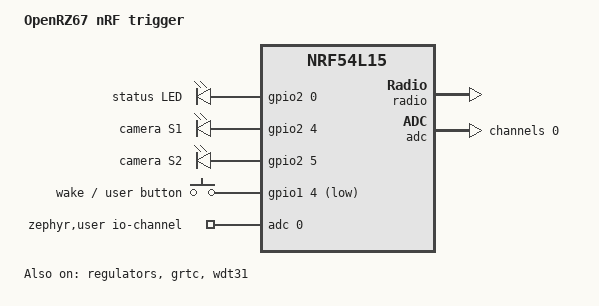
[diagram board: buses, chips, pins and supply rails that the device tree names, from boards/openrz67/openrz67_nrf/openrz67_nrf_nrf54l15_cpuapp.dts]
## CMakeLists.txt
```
# SPDX-License-Identifier: MPL-2.0
cmake_minimum_required(VERSION 3.20.0)
list(APPEND BOARD_ROOT ${CMAKE_CURRENT_SOURCE_DIR})
find_package(Zephyr REQUIRED HINTS $ENV{ZEPHYR_BASE})
project(openrz67_nrf)
target_sources(app PRIVATE src/main.c)
```

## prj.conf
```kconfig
# Bluetooth: peripheral only, one connection, 0 dBm
CONFIG_BT=y
CONFIG_BT_PERIPHERAL=y
CONFIG_BT_MAX_CONN=1
CONFIG_BT_DEVICE_NAME="OpenRZ67"
CONFIG_BT_DEVICE_APPEARANCE=0
CONFIG_BT_DIS=y
CONFIG_BT_DIS_MANUF_NAME=y
CONFIG_BT_DIS_MANUF_NAME_STR="OpenRZ67"
CONFIG_BT_DIS_MODEL_NUMBER=y
CONFIG_BT_DIS_MODEL_NUMBER_STR="Trigger"
CONFIG_BT_DIS_FW_REV=y
CONFIG_BT_DIS_PNP=n
CONFIG_BT_BAS=y
CONFIG_BT_GATT_DYNAMIC_DB=n
CONFIG_BT_CTLR_TX_PWR_0=y
# GAP preferred supervision timeout 4 s, as requested after connecting (default 420 ms)
CONFIG_BT_PERIPHERAL_PREF_TIMEOUT=400

# Firmware updates over Bluetooth: MCUboot + SMP (nRF Connect Device Manager app)
CONFIG_NCS_SAMPLE_MCUMGR_BT_OTA_DFU=y

# GPIO, ADC (VDD measurement), power off, watchdog
CONFIG_GPIO=y
CONFIG_ADC=y
CONFIG_POWEROFF=y
CONFIG_WATCHDOG=y

# Anomaly 30: HFINT drifts in the cold and GRTC wake-ups go wrong; recalibrate every 60 s
CONFIG_CLOCK_CONTROL_NRF_HFINT_CALIBRATION=y

# Nothing talks on a serial port: no UART, no console, no logging.
# debug.conf turns RTT logging on for a J-Link / debugprobe session.
CONFIG_SERIAL=n
CONFIG_CONSOLE=n
CONFIG_UART_CONSOLE=n
CONFIG_LOG=n
CONFIG_BOOT_BANNER=n
CONFIG_MAIN_STACK_SIZE=2048
```

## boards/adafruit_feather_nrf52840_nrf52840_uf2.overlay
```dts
/* SPDX-License-Identifier: MPL-2.0 */
/* Perfboard variant, see ../../docs/perfboard.md */
#include <zephyr/dt-bindings/gpio/nordic-nrf-gpio.h>
#include <zephyr/dt-bindings/adc/adc.h>
#include <zephyr/dt-bindings/adc/nrf-saadc.h>

/ {
	outputs {
		compatible = "gpio-leds";
		s1_drv: s1 {
			gpios = <&gpio0 4 (GPIO_ACTIVE_HIGH | NRF_GPIO_DRIVE_H0H1)>;	/* A0 */
			label = "camera S1";
		};
		s2_drv: s2 {
			gpios = <&gpio0 5 (GPIO_ACTIVE_HIGH | NRF_GPIO_DRIVE_H0H1)>;	/* A1 */
			label = "camera S2";
		};
	};

	/* LiPo through the Feather's 100k/100k divider into AIN5 */
	zephyr,user {
		io-channels = <&adc 5>;
		vbat-divider = <2>;
		vbat-curve = <4150 100 3300 0>;
	};
};

&adc {
	#address-cells = <1>;
	#size-cells = <0>;
	channel@5 {
		reg = <5>;
		zephyr,gain = "ADC_GAIN_1_6";
		zephyr,reference = "ADC_REF_INTERNAL";
		zephyr,acquisition-time = <ADC_ACQ_TIME(ADC_ACQ_TIME_MICROSECONDS, 40)>;
		zephyr,input-positive = <NRF_SAADC_AIN5>;
		zephyr,resolution = <12>;
		zephyr,oversampling = <4>;
	};
};

/* USR button on P1.02 via SENSE, as on the coin-cell board */
&gpio1 {
	sense-edge-mask = <(1 << 2)>;
};

&wdt0 {
	status = "okay";
};
```

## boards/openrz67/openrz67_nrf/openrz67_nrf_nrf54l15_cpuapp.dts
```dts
/* SPDX-License-Identifier: MPL-2.0 */
/dts-v1/;
#include <nordic/nrf54l15_cpuapp.dtsi>
#include <zephyr/dt-bindings/input/input-event-codes.h>
#include <zephyr/dt-bindings/adc/adc.h>
#include <zephyr/dt-bindings/adc/nrf-saadc.h>
#include <zephyr/dt-bindings/gpio/nordic-nrf-gpio.h>

/ {
	model = "OpenRZ67 nRF trigger";
	compatible = "openrz67,openrz67-nrf";

	chosen {
		zephyr,sram = &cpuapp_sram;
		zephyr,flash = &cpuapp_rram;
		zephyr,flash-controller = &rram_controller;
		zephyr,code-partition = &slot0_partition;
	};

	/* E73-2G4M08S1F pads -> nRF54L15 GPIO, see ../../../../kicad/README.md */
	outputs {
		compatible = "gpio-leds";
		status_led: led_0 {
			gpios = <&gpio2 0 GPIO_ACTIVE_HIGH>;	/* D1 through R3, pad 18 */
			label = "status LED";
		};
		s1_drv: s1 {
			gpios = <&gpio2 4 (GPIO_ACTIVE_HIGH | NRF_GPIO_DRIVE_S0H1)>;	/* U2 PhotoMOS LED through R1, pad 27; high drive, 4 to 7 mA */
			label = "camera S1";
		};
		s2_drv: s2 {
			gpios = <&gpio2 5 (GPIO_ACTIVE_HIGH | NRF_GPIO_DRIVE_S0H1)>;	/* U3 PhotoMOS LED through R2, pad 28; high drive, 4 to 7 mA */
			label = "camera S2";
		};
	};

	buttons {
		compatible = "gpio-keys";
		user_button: button_0 {
			gpios = <&gpio1 4 (GPIO_PULL_UP | GPIO_ACTIVE_LOW)>;	/* SW1 to GND, pad 7 */
			label = "wake / user button";
			zephyr,code = <INPUT_KEY_0>;
		};
	};

	zephyr,user {
		io-channels = <&adc 0>;	/* VDD, i.e. the cell voltage */
	};

	aliases {
		led0 = &status_led;
		sw0 = &user_button;
		watchdog0 = &wdt31;
	};
};

&cpuapp_sram {
	status = "okay";
};

/* Crystals inside the module; Ebyte does not give their load capacitance, these are the DK values */
&lfxo {
	load-capacitors = "internal";
	load-capacitance-femtofarad = <17000>;
};

&hfxo {
	load-capacitors = "internal";
	load-capacitance-femtofarad = <15000>;
};

&regulators {
	status = "okay";
};

&grtc {
	owned-channels = <0 1 2 3 4 5 6 7 8 9 10 11>;
	child-owned-channels = <3 4 7 8 9 10 11>;
	status = "okay";
};

&clock {
	status = "okay";
};

&radio {
	status = "okay";
};

&adc {
	status = "okay";
	#address-cells = <1>;
	#size-cells = <0>;
	channel@0 {
		reg = <0>;
		zephyr,gain = "ADC_GAIN_1_4";
		zephyr,reference = "ADC_REF_INTERNAL";
		zephyr,acquisition-time = <ADC_ACQ_TIME(ADC_ACQ_TIME_MICROSECONDS, 40)>;
		zephyr,input-positive = <NRF_SAADC_VDD>;
		zephyr,resolution = <12>;
		zephyr,oversampling = <4>;
	};
};

&gpio1 {
	status = "okay";
	sense-edge-mask = <(1 << 4)>;	/* button via SENSE, not a GPIOTE channel */
	latch-detect;	/* anomaly 114: a bouncing SENSE pin can leave ~300 uA on in idle */
};

&gpio2 {
	status = "okay";
};

&wdt31 {
	status = "okay";
};

&gpiote20 {
	status = "okay";
};

#include <vendor/nordic/nrf54l15_cpuapp_partition.dtsi>
```

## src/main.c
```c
/* SPDX-License-Identifier: MPL-2.0 */
/* OpenRZ67 trigger, nRF54L15 / coin cell. Zephyr (nRF Connect SDK).
 *
 * GATT interface, as the Android and iOS apps use it:
 *   service  c9239c9e-6fc9-4168-b3aa-53105eb990b0
 *   command  458d4dc9-349f-401d-b092-a2b1c55f5319  write, with or without response
 *            1 byte:  button * 10 + state        (1 trigger, 2 bulb, 3 countdown; 1 start, 0 stop)
 *            3 bytes: [3, seconds, state]        countdown with its duration
 *   battery  cda71ce6-4af9-4aa2-8d34-329c2acdae09  cell voltage, mV, uint16 LE, read + notify
 *   plus Device Information (0x180A) and Battery Service (0x180F).
 *
 * Power: boot (button press) -> advertise ADV_TIMEOUT -> no connection: System OFF, the
 * button wakes it. Connected: IDLE_TIMEOUT without a command (and no bulb or countdown
 * running) -> System OFF. Disconnect -> advertise ADV_TIMEOUT again.
 */
#include <zephyr/kernel.h>
#include <zephyr/sys/poweroff.h>
#include <zephyr/drivers/gpio.h>
#include <zephyr/drivers/adc.h>
#include <zephyr/drivers/watchdog.h>
#include <zephyr/drivers/timer/system_timer.h>
#include <zephyr/sys/byteorder.h>
#include <zephyr/sys/atomic.h>
#include <zephyr/bluetooth/bluetooth.h>
#include <zephyr/bluetooth/conn.h>
#include <zephyr/bluetooth/gatt.h>
#include <zephyr/bluetooth/services/bas.h>
#include <zephyr/logging/log.h>
#include <zephyr/init.h>
#include <hal/nrf_gpio.h>
#if defined(CONFIG_SOC_SERIES_NRF54LX)
#include <hal/nrf_regulators.h>
#endif

LOG_MODULE_REGISTER(openrz67, LOG_LEVEL_INF);

#define ADV_TIMEOUT      K_MINUTES(3)
#define IDLE_TIMEOUT     K_MINUTES(30)
#define VBAT_PERIOD      K_SECONDS(60)
#define VBAT_SAMPLES     5
#define VBAT_SAMPLE_GAP_MS 6
/* Default is the CR2032 board's; a board with a divider sets it in zephyr,user */
#define VBAT_DIVIDER     DT_PROP_OR(DT_PATH(zephyr_user), vbat_divider, 1)
#define TRIGGER_HOLD_MS  100    /* S2 held for a plain release */
#define S1_LEAD_MS       10     /* S1 before S2, lets the camera wake its meter */
#define DEFAULT_COUNTDOWN_MS 10000
#define LED_HOLD_MS      2000   /* LED on after a trigger */
#define LONG_PRESS       K_SECONDS(3)   /* button held this long: power off */
#define WDT_TIMEOUT_MS   5000   /* the main loop wakes at least every 2 s */

/* --- Pins (devicetree, see boards/openrz67/openrz67_nrf/openrz67_nrf_nrf54l15_cpuapp.dts) ---------- */
static const struct gpio_dt_spec led = GPIO_DT_SPEC_GET(DT_ALIAS(led0), gpios);
static const struct gpio_dt_spec s1 = GPIO_DT_SPEC_GET(DT_NODELABEL(s1_drv), gpios);
static const struct gpio_dt_spec s2 = GPIO_DT_SPEC_GET(DT_NODELABEL(s2_drv), gpios);
static const struct gpio_dt_spec button = GPIO_DT_SPEC_GET(DT_ALIAS(sw0), gpios);
static const struct adc_dt_spec vdd_adc = ADC_DT_SPEC_GET_BY_IDX(DT_PATH(zephyr_user), 0);
static const struct gpio_dt_spec vbat_en = GPIO_DT_SPEC_GET_OR(DT_PATH(zephyr_user), vbat_enable_gpios, {0});
static const struct device *const wdt = DEVICE_DT_GET(DT_ALIAS(watchdog0));

/* --- GATT ------------------------------------------------------------------------- */
#define UUID_SERVICE BT_UUID_128_ENCODE(0xc9239c9e, 0x6fc9, 0x4168, 0xb3aa, 0x53105eb990b0)
#define UUID_COMMAND BT_UUID_128_ENCODE(0x458d4dc9, 0x349f, 0x401d, 0xb092, 0xa2b1c55f5319)
#define UUID_BATTERY BT_UUID_128_ENCODE(0xcda71ce6, 0x4af9, 0x4aa2, 0x8d34, 0x329c2acdae09)

static const struct bt_uuid_128 uuid_service = BT_UUID_INIT_128(UUID_SERVICE);
static const struct bt_uuid_128 uuid_command = BT_UUID_INIT_128(UUID_COMMAND);
static const struct bt_uuid_128 uuid_battery = BT_UUID_INIT_128(UUID_BATTERY);

struct command {
	uint8_t button;      /* 1 trigger, 2 bulb, 3 countdown */
	uint8_t value;       /* 1 start, 0 stop */
	uint32_t duration_ms;
};
K_MSGQ_DEFINE(commands, sizeof(struct command), 9, 4);
static struct k_spinlock command_lock;

static int enqueue_command(const struct command *c, bool disconnect)
{
	k_spinlock_key_t key = k_spin_lock(&command_lock);
	if (disconnect) {
		k_msgq_purge(&commands);
	}
	uint32_t free_slots = k_msgq_num_free_get(&commands);
	bool stop = c->button == 2 && c->value == 0;
	int err = 0;
	/* Reserve the last slot for bulb stop. When full, the tail is already a stop. */
	if (free_slots > 1 || (stop && free_slots == 1)) {
		err = k_msgq_put(&commands, c, K_NO_WAIT);
	} else if (!stop) {
		err = -ENOSPC;
	}
	k_spin_unlock(&command_lock, key);
	return err;
}

static uint16_t vbat_mv;
static bool vbat_notify;

static ssize_t write_command(struct bt_conn *conn, const struct bt_gatt_attr *attr,
			     const void *buf, uint16_t len, uint16_t offset, uint8_t flags)
{
	const uint8_t *d = buf;
	struct command c = {.duration_ms = DEFAULT_COUNTDOWN_MS};

	if (len == 1) {
		c.button = d[0] / 10;
		c.value = d[0] % 10;
	} else if (len == 3 && d[0] == 3 && (d[1] > 0 || d[2] != 1)) {   /* a start needs 1..255 s */
		c.button = 3;
		c.duration_ms = d[1] * 1000U;
		c.value = d[2];
	} else {
		return BT_GATT_ERR(BT_ATT_ERR_VALUE_NOT_ALLOWED);
	}
	if (enqueue_command(&c, false)) {
		return BT_GATT_ERR(BT_ATT_ERR_INSUFFICIENT_RESOURCES);
	}
	return len;
}

static ssize_t read_battery(struct bt_conn *conn, const struct bt_gatt_attr *attr,
			    void *buf, uint16_t len, uint16_t offset)
{
	uint16_t v = sys_cpu_to_le16(vbat_mv);
	return bt_gatt_attr_read(conn, attr, buf, len, offset, &v, sizeof(v));
}

static void battery_ccc_changed(const struct bt_gatt_attr *attr, uint16_t value)
{
	vbat_notify = value == BT_GATT_CCC_NOTIFY;
}

BT_GATT_SERVICE_DEFINE(trigger_svc,
	BT_GATT_PRIMARY_SERVICE(&uuid_service),
	BT_GATT_CHARACTERISTIC(&uuid_command.uuid, BT_GATT_CHRC_WRITE_WITHOUT_RESP | BT_GATT_CHRC_WRITE,
			       BT_GATT_PERM_WRITE, NULL, write_command, NULL),
	BT_GATT_CHARACTERISTIC(&uuid_battery.uuid, BT_GATT_CHRC_READ | BT_GATT_CHRC_NOTIFY,
			       BT_GATT_PERM_READ, read_battery, NULL, NULL),
	BT_GATT_CCC(battery_ccc_changed, BT_GATT_PERM_READ | BT_GATT_PERM_WRITE),
);

/* --- Advertising / connection ---------------------------------------------------- */
static const struct bt_data ad[] = {
	BT_DATA_BYTES(BT_DATA_FLAGS, BT_LE_AD_GENERAL | BT_LE_AD_NO_BREDR),
	BT_DATA_BYTES(BT_DATA_UUID128_ALL, UUID_SERVICE),
};
static const struct bt_data sd[] = {
	BT_DATA(BT_DATA_NAME_COMPLETE, CONFIG_BT_DEVICE_NAME, sizeof(CONFIG_BT_DEVICE_NAME) - 1),
};
/* 30-60 ms advertising, so the phone sees us at once */
static const struct bt_le_adv_param adv_param =
	BT_LE_ADV_PARAM_INIT(BT_LE_ADV_OPT_CONN, 0x0030, 0x0060, NULL);

static struct bt_conn *current_conn;
static bool bulb_active;
static atomic_t countdown_active;
static void adv_timeout_fn(struct k_work *work);
static K_WORK_DELAYABLE_DEFINE(adv_timeout, adv_timeout_fn);

static void start_advertising(void)
{
	int err = bt_le_adv_start(&adv_param, ad, ARRAY_SIZE(ad), sd, ARRAY_SIZE(sd));
	if (err && err != -EALREADY) {
		LOG_ERR("adv start %d", err);
	}
	k_work_reschedule(&adv_timeout, ADV_TIMEOUT);
}

static void power_off(void)
{
	bt_le_adv_stop();
	gpio_pin_set_dt(&led, 0);
	gpio_pin_set_dt(&s1, 0);
	gpio_pin_set_dt(&s2, 0);
	/* the button (active low, pulled up) wakes the chip from System OFF */
	gpio_pin_interrupt_configure_dt(&button, GPIO_INT_LEVEL_ACTIVE);
	/* latch-detect: a latch bit left set from an earlier SENSE match keeps DETECT high
	 * after the button is released, and System OFF wakes at once */
	nrf_gpio_pin_latch_clear(NRF_DT_GPIOS_TO_PSEL(DT_ALIAS(sw0), gpios));
	/* on the nRF54L the GRTC keeps running in System OFF, and the next kernel timeout
	 * (LED, battery) wakes the chip at once */
	sys_clock_disable();
	sys_poweroff();
}

static void shutdown(void)
{
	if (current_conn) {
		bt_conn_disconnect(current_conn, BT_HCI_ERR_REMOTE_POWER_OFF);
		k_msleep(100);   /* let the disconnect go out so the app sees it at once */
	}
	power_off();
}

/* Straight to System OFF rather than a disconnect: the apps reconnect on their own, so the
 * link would only come back */
static void idle_timeout_fn(struct k_work *work);
static K_WORK_DELAYABLE_DEFINE(idle_timeout, idle_timeout_fn);

static void idle_timeout_fn(struct k_work *work)
{
	if (current_conn == NULL) {
		return;
	}
	if (bulb_active || atomic_get(&countdown_active) || k_msgq_num_used_get(&commands)) {
		k_work_reschedule(&idle_timeout, IDLE_TIMEOUT);
		return;
	}
	LOG_INF("idle, sleeping");
	shutdown();
}

static void adv_timeout_fn(struct k_work *work)
{
	if (current_conn) {
		return;
	}
	if (atomic_get(&countdown_active)) {
		/* the phone is gone but the picture is still owed: sleep after it fires */
		k_work_reschedule(&adv_timeout, K_SECONDS(5));
		return;
	}
	LOG_INF("nobody came, sleeping");
	power_off();
}

static void connected(struct bt_conn *conn, uint8_t err)
{
	if (err) {
		return;   /* recycled() restarts advertising */
	}
	current_conn = bt_conn_ref(conn);
	k_work_cancel_delayable(&adv_timeout);
	k_work_reschedule(&idle_timeout, IDLE_TIMEOUT);
	/* 30-50 ms interval, no latency: a shutter command is acted on within one interval */
	bt_conn_le_param_update(conn, BT_LE_CONN_PARAM(0x18, 0x28, 0, 400));
}

static void disconnected(struct bt_conn *conn, uint8_t reason)
{
	/* the app can no longer send the stop: end a bulb here so the outputs do not stay on */
	struct command stop = {.button = 2, .value = 0};
	enqueue_command(&stop, true);
	if (current_conn) {
		bt_conn_unref(current_conn);
		current_conn = NULL;
	}
}

/* With BT_MAX_CONN=1 the connection object is still held in disconnected(), so
 * bt_le_adv_start fails there with -ENOMEM. It is free once recycled() runs. */
static void recycled(void)
{
	start_advertising();   /* ADV_TIMEOUT to reconnect, then sleep */
}

BT_CONN_CB_DEFINE(conn_cb) = {
	.connected = connected,
	.disconnected = disconnected,
	.recycled = recycled,
};

/* --- Battery ----------------------------------------------------------------------- */
static void vbat_update(struct k_work *work);
static K_WORK_DELAYABLE_DEFINE(vbat_work, vbat_update);

/* mV, percent pairs, falling, interpolated between. The default is the CR2032 curve from the
 * nRF5 SDK's battery_level_in_percent(); a CR2032 sits near 2.9 V most of its life */
#if DT_NODE_HAS_PROP(DT_PATH(zephyr_user), vbat_curve)
static const uint16_t vbat_curve[] = DT_PROP(DT_PATH(zephyr_user), vbat_curve);
#else
static const uint16_t vbat_curve[] = {3000, 100, 2900, 42, 2740, 18, 2440, 6, 2100, 0};
#endif

static int vbat_percent(int mv)
{
	if (mv >= vbat_curve[0]) {
		return vbat_curve[1];
	}
	for (size_t i = 2; i < ARRAY_SIZE(vbat_curve); i += 2) {
		int v0 = vbat_curve[i - 2], p0 = vbat_curve[i - 1];
		int v1 = vbat_curve[i], p1 = vbat_curve[i + 1];

		if (mv >= v1) {
			return p1 + (mv - v1) * (p0 - p1) / (v0 - v1);
		}
	}
	return vbat_curve[ARRAY_SIZE(vbat_curve) - 1];
}

static void vbat_update(struct k_work *work)
{
	int16_t raw, best = INT16_MIN;
	struct adc_sequence seq = {.buffer = &raw, .buffer_size = sizeof(raw)};
	int err = 0;

	adc_sequence_init_dt(&vdd_adc, &seq);
	seq.calibrate = true;
	if (vbat_en.port) {
		gpio_pin_set_dt(&vbat_en, 1);
		k_msleep(2);
	}
	/* a radio event only pulls the cell down, so the highest sample is nearest its rest voltage */
	for (int i = 0; i < VBAT_SAMPLES && err == 0; i++) {
		if (i > 0) {
			k_msleep(VBAT_SAMPLE_GAP_MS);
		}
		err = adc_read_dt(&vdd_adc, &seq);
		seq.calibrate = false;
		best = MAX(best, raw);
	}
	if (vbat_en.port) {
		gpio_pin_set_dt(&vbat_en, 0);
	}
	if (err == 0) {
		int32_t mv = best;
		adc_raw_to_millivolts_dt(&vdd_adc, &mv);
		vbat_mv = CLAMP(mv * VBAT_DIVIDER, 0, 0xffff);
		bt_bas_set_battery_level(vbat_percent(vbat_mv));
		if (vbat_notify && current_conn) {
			uint16_t v = sys_cpu_to_le16(vbat_mv);
			bt_gatt_notify(current_conn, &trigger_svc.attrs[4], &v, sizeof(v));
		}
	}
	k_work_reschedule(&vbat_work, VBAT_PERIOD);
}

/* --- Shutter ----------------------------------------------------------------------- */
static int64_t countdown_end, led_hold_until;

static void open_shutter(void)
{
	gpio_pin_set_dt(&s1, 1);
	k_msleep(S1_LEAD_MS);
	gpio_pin_set_dt(&s2, 1);
}

static void close_shutter(void)
{
	gpio_pin_set_dt(&s2, 0);
	gpio_pin_set_dt(&s1, 0);
}

static void trigger_shutter(void)
{
	bulb_active = false;
	open_shutter();
	k_msleep(TRIGGER_HOLD_MS);
	close_shutter();
}

/* Only value 1 starts. A start of any button cancels a pending countdown; a stop ends only
 * its own button's action. */
static void handle(const struct command *c)
{
	bool start = c->value == 1;

	switch (c->button) {
	case 1:
		if (start) {
			atomic_clear(&countdown_active);
			trigger_shutter();
			led_hold_until = k_uptime_get() + LED_HOLD_MS;
		} else {
			led_hold_until = 0;
		}
		break;
	case 2:
		if (start) {
			atomic_clear(&countdown_active);
			bulb_active = true;
			open_shutter();
		} else {
			bulb_active = false;
			close_shutter();
		}
		break;
	case 3:
		if (start) {
			bulb_active = false;
			close_shutter();
			countdown_end = k_uptime_get() + c->duration_ms;
		}
		atomic_set(&countdown_active, start);
		break;
	default:
		LOG_WRN("unknown button %u", c->button);
	}
}

/* LED: solid just after a trigger, slow blink while the shutter is held (saves the cell),
 * fast blink in a countdown, short blink every 2 s while advertising, off when connected
 * and idle. */
static void led_tick(int64_t now)
{
	bool on;

	if (now < led_hold_until) {
		on = true;
	} else if (bulb_active) {
		on = (now % 1000) < 100;
	} else if (atomic_get(&countdown_active)) {
		on = (now % 250) < 125;
	} else if (current_conn == NULL) {
		on = (now % 2000) < 40;
	} else {
		on = false;
	}
	gpio_pin_set_dt(&led, on);
}

/* --- Button: a press wakes from System OFF and restarts advertising; held 3 s, power off --- */
static void adv_work_fn(struct k_work *work)
{
	if (current_conn == NULL) {
		start_advertising();
	}
}
static K_WORK_DEFINE(adv_work, adv_work_fn);

static void long_press_fn(struct k_work *work)
{
	if (!gpio_pin_get_dt(&button)) {
		return;
	}
	/* a button still held, or bouncing on release, would wake System OFF at once */
	for (int released = 0; released < 3;) {
		k_msleep(20);
		released = gpio_pin_get_dt(&button) ? 0 : released + 1;
	}
	shutdown();
}
static K_WORK_DELAYABLE_DEFINE(long_press, long_press_fn);

static struct gpio_callback button_cb;
static void button_pressed(const struct device *dev, struct gpio_callback *cb, uint32_t pins)
{
	k_work_submit(&adv_work);   /* bt_le_adv_start is not ISR-safe */
	k_work_reschedule(&long_press, LONG_PRESS);
}

/* How long the main loop may sleep before the LED or the countdown needs it */
static k_timeout_t next_wait(int64_t now)
{
	if (atomic_get(&countdown_active) || bulb_active || now < led_hold_until) {
		return K_MSEC(20);
	}
	if (current_conn == NULL) {
		int64_t phase = now % 2000;
		return K_MSEC(phase < 40 ? 40 - phase : 2000 - phase);
	}
	return K_SECONDS(1);
}

#if defined(CONFIG_SOC_SERIES_NRF54LX)
/* DC/DC roughly halves the radio current, but only with an inductor on DCC, inside the
 * module. Ebyte does not say whether it is there, so ask the chip before turning it on. */
static int dcdc_init(void)
{
	if (nrf_regulators_inductor_check(NRF_REGULATORS)) {
		nrf_regulators_vreg_enable_set(NRF_REGULATORS, NRF_REGULATORS_VREG_MAIN, true);
	}
	return 0;
}
SYS_INIT(dcdc_init, PRE_KERNEL_1, 0);
#endif

int main(void)
{
	gpio_pin_configure_dt(&led, GPIO_OUTPUT_INACTIVE);
	gpio_pin_configure_dt(&s1, GPIO_OUTPUT_INACTIVE);
	gpio_pin_configure_dt(&s2, GPIO_OUTPUT_INACTIVE);
	gpio_pin_configure_dt(&button, GPIO_INPUT);
	gpio_pin_interrupt_configure_dt(&button, GPIO_INT_EDGE_TO_ACTIVE);
	gpio_init_callback(&button_cb, button_pressed, BIT(button.pin));
	gpio_add_callback(button.port, &button_cb);
	adc_channel_setup_dt(&vdd_adc);
	if (vbat_en.port) {
		gpio_pin_configure_dt(&vbat_en, GPIO_OUTPUT_INACTIVE);
	}

	/* a hung loop resets the chip, and reset releases S1/S2 */
	struct wdt_timeout_cfg wdt_cfg = {
		.window.max = WDT_TIMEOUT_MS,
		.flags = WDT_FLAG_RESET_SOC,
	};
	int wdt_ch = wdt_install_timeout(wdt, &wdt_cfg);
	wdt_setup(wdt, WDT_OPT_PAUSE_HALTED_BY_DBG);

	int err = bt_enable(NULL);
	if (err) {
		LOG_ERR("bt_enable %d", err);
		return 0;
	}
	start_advertising();
	k_work_schedule(&vbat_work, K_SECONDS(1));

	struct command c;
	while (1) {
		if (k_msgq_get(&commands, &c, next_wait(k_uptime_get())) == 0) {
			handle(&c);
			k_work_reschedule(&idle_timeout, IDLE_TIMEOUT);
		}
		int64_t now = k_uptime_get();
		if (atomic_get(&countdown_active) && now >= countdown_end) {
			trigger_shutter();
			atomic_clear(&countdown_active);
			led_hold_until = k_uptime_get() + LED_HOLD_MS;
		}
		led_tick(now);
		wdt_feed(wdt, wdt_ch);
	}
	return 0;
}
```
